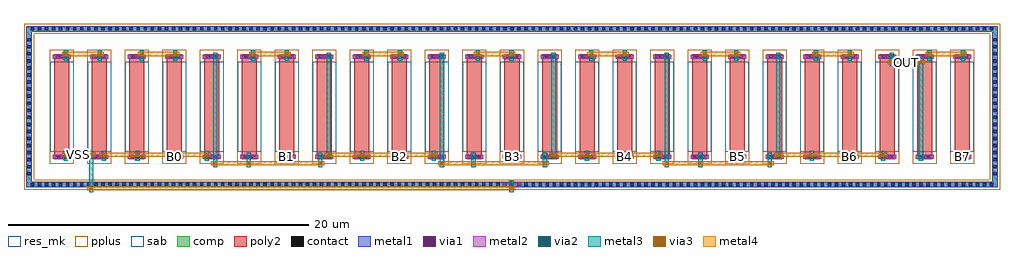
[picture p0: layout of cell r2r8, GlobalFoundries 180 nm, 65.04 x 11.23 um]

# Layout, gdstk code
import gdstk
lib = gdstk.Library(unit=1e-6, precision=1e-09)
def R(c, l, rs):  # rectangles x0, y0, x1, y1
    for r in rs: c.add(gdstk.rectangle(r[:2], r[2:], *l))
def A(c, l, x, y, w, h, nx, ny, dx, dy):  # array of equal rectangles
    R(c, l, [(x+i*dx, y+j*dy, x+i*dx+w, y+j*dy+h) for i in range(nx) for j in range(ny)])
comp = (22, 0)
poly2 = (30, 0)
pplus = (31, 0)
contact = (33, 0)
metal1 = (34, 0)
via1 = (35, 0)
metal2 = (36, 0)
via2 = (38, 0)
via3 = (40, 0)
metal3 = (42, 0)
metal4 = (46, 0)
sab = (49, 0)
res_mk = (110, 5)

r2r8 = lib.new_cell('r2r8')
R(r2r8, comp, [(1.14,0.63,65.86,0.99), (1.14,0.99,1.5,11.01), (65.5,0.99,65.86,11.01), (1.14,11.01,65.86,11.37)])
A(r2r8, poly2, 3, 2.49, 1, 7.02, 25, 1, 2.5, 0)
A(r2r8, pplus, 2.7, 2.19, 1.6, 7.62, 25, 1, 2.5, 0)
R(r2r8, pplus, [(0.98,0.47,66.02,1.15), (0.98,0.83,1.66,11.17), (65.34,0.83,66.02,11.17), (0.98,10.85,66.02,11.53)])
A(r2r8, contact, 1.43, 0.7, 0.22, 0.22, 137, 2, 0.47, 10.38)
A(r2r8, contact, 1.21, 1.425, 0.22, 0.22, 1, 20, 0, 0.47)
A(r2r8, contact, 65.57, 1.425, 0.22, 0.22, 1, 20, 0, 0.47)
R(r2r8, contact, [(3.155,2.56,3.375,2.78), (3.625,2.56,3.845,2.78), (5.655,2.56,5.875,2.78), (6.125,2.56,6.345,2.78), (8.155,2.56,8.375,2.78), (8.625,2.56,8.845,2.78), (10.655,2.56,10.875,2.78), (11.125,2.56,11.345,2.78), (13.155,2.56,13.375,2.78), (13.625,2.56,13.845,2.78), (15.655,2.56,15.875,2.78), (16.125,2.56,16.345,2.78), (18.155,2.56,18.375,2.78), (18.625,2.56,18.845,2.78), (20.655,2.56,20.875,2.78), (21.125,2.56,21.345,2.78), (23.155,2.56,23.375,2.78), (23.625,2.56,23.845,2.78), (25.655,2.56,25.875,2.78), (26.125,2.56,26.345,2.78), (28.155,2.56,28.375,2.78), (28.625,2.56,28.845,2.78), (30.655,2.56,30.875,2.78), (31.125,2.56,31.345,2.78), (33.155,2.56,33.375,2.78), (33.625,2.56,33.845,2.78), (35.655,2.56,35.875,2.78), (36.125,2.56,36.345,2.78), (38.155,2.56,38.375,2.78), (38.625,2.56,38.845,2.78), (40.655,2.56,40.875,2.78), (41.125,2.56,41.345,2.78), (43.155,2.56,43.375,2.78), (43.625,2.56,43.845,2.78), (45.655,2.56,45.875,2.78), (46.125,2.56,46.345,2.78), (48.155,2.56,48.375,2.78), (48.625,2.56,48.845,2.78), (50.655,2.56,50.875,2.78), (51.125,2.56,51.345,2.78), (53.155,2.56,53.375,2.78), (53.625,2.56,53.845,2.78), (55.655,2.56,55.875,2.78), (56.125,2.56,56.345,2.78), (58.155,2.56,58.375,2.78), (58.625,2.56,58.845,2.78), (60.655,2.56,60.875,2.78), (61.125,2.56,61.345,2.78), (63.155,2.56,63.375,2.78), (63.625,2.56,63.845,2.78), (3.155,9.22,3.375,9.44), (3.625,9.22,3.845,9.44), (5.655,9.22,5.875,9.44), (6.125,9.22,6.345,9.44), (8.155,9.22,8.375,9.44), (8.625,9.22,8.845,9.44), (10.655,9.22,10.875,9.44), (11.125,9.22,11.345,9.44), (13.155,9.22,13.375,9.44), (13.625,9.22,13.845,9.44), (15.655,9.22,15.875,9.44), (16.125,9.22,16.345,9.44), (18.155,9.22,18.375,9.44), (18.625,9.22,18.845,9.44), (20.655,9.22,20.875,9.44), (21.125,9.22,21.345,9.44), (23.155,9.22,23.375,9.44), (23.625,9.22,23.845,9.44), (25.655,9.22,25.875,9.44), (26.125,9.22,26.345,9.44), (28.155,9.22,28.375,9.44), (28.625,9.22,28.845,9.44), (30.655,9.22,30.875,9.44), (31.125,9.22,31.345,9.44), (33.155,9.22,33.375,9.44), (33.625,9.22,33.845,9.44), (35.655,9.22,35.875,9.44), (36.125,9.22,36.345,9.44), (38.155,9.22,38.375,9.44), (38.625,9.22,38.845,9.44), (40.655,9.22,40.875,9.44), (41.125,9.22,41.345,9.44), (43.155,9.22,43.375,9.44), (43.625,9.22,43.845,9.44), (45.655,9.22,45.875,9.44), (46.125,9.22,46.345,9.44), (48.155,9.22,48.375,9.44), (48.625,9.22,48.845,9.44), (50.655,9.22,50.875,9.44), (51.125,9.22,51.345,9.44), (53.155,9.22,53.375,9.44), (53.625,9.22,53.845,9.44), (55.655,9.22,55.875,9.44), (56.125,9.22,56.345,9.44), (58.155,9.22,58.375,9.44), (58.625,9.22,58.845,9.44), (60.655,9.22,60.875,9.44), (61.125,9.22,61.345,9.44), (63.155,9.22,63.375,9.44), (63.625,9.22,63.845,9.44)])
A(r2r8, metal1, 3.22, 2.54, 0.56, 0.26, 25, 2, 2.5, 6.66)
A(r2r8, metal1, 3.095, 2.555, 0.81, 0.23, 25, 2, 2.5, 6.66)
R(r2r8, metal1, [(1.14,0.63,65.86,0.99), (33.22,0.68,33.78,0.94), (1.14,0.99,1.5,11.01), (65.5,0.99,65.86,11.01), (1.14,11.01,65.86,11.37)])
A(r2r8, via1, 3.37, 2.54, 0.26, 0.26, 25, 2, 2.5, 6.66)
R(r2r8, via1, [(33.37,0.68,33.63,0.94)])
A(r2r8, metal2, 2.9, 2.53, 1.2, 0.28, 4, 1, 2.5, 0)
A(r2r8, metal2, 10.4, 2.53, 1.2, 0.28, 4, 1, 2.5, 0)
A(r2r8, metal2, 17.9, 2.53, 1.2, 0.28, 4, 1, 2.5, 0)
A(r2r8, metal2, 25.4, 2.53, 1.2, 0.28, 4, 1, 2.5, 0)
A(r2r8, metal2, 32.9, 2.53, 1.2, 0.28, 4, 1, 2.5, 0)
A(r2r8, metal2, 40.4, 2.53, 1.2, 0.28, 4, 1, 2.5, 0)
A(r2r8, metal2, 47.9, 2.53, 1.2, 0.28, 4, 1, 2.5, 0)
A(r2r8, metal2, 55.4, 2.53, 1.2, 0.28, 4, 1, 2.5, 0)
A(r2r8, metal2, 2.9, 9.19, 1.2, 0.28, 25, 1, 2.5, 0)
R(r2r8, metal2, [(32.9,0.67,34.1,0.95), (33.2,0.67,33.72,0.95), (33.24,0.67,33.76,0.95), (3.24,2.53,3.76,2.81), (3.52,2.53,4.04,2.81), (5.74,2.53,6.26,2.81), (6.04,2.53,6.56,2.81), (8.24,2.53,8.76,2.81), (8.28,2.53,8.8,2.81), (10.74,2.53,11.26,2.81), (12.9,2.53,13.42,2.81), (13.24,2.53,13.76,2.81), (15.7,2.53,16.22,2.81), (15.74,2.53,16.26,2.81), (18.24,2.53,18.76,2.81), (20.46,2.53,20.98,2.81), (20.74,2.53,21.26,2.81), (23.24,2.53,23.76,2.81), (23.26,2.53,23.78,2.81), (25.74,2.53,26.26,2.81), (28.02,2.53,28.54,2.81), (28.24,2.53,28.76,2.81), (30.68,2.53,31.2,2.81), (30.74,2.53,31.26,2.81), (33.24,2.53,33.76,2.81), (35.44,2.53,35.96,2.81), (35.74,2.53,36.26,2.81), (38.24,2.53,38.76,2.81), (38.24,2.53,38.76,2.81), (40.74,2.53,41.26,2.81), (43,2.53,43.52,2.81), (43.24,2.53,43.76,2.81), (45.74,2.53,46.26,2.81), (45.8,2.53,46.32,2.81), (48.24,2.53,48.76,2.81), (50.42,2.53,50.94,2.81), (50.74,2.53,51.26,2.81), (53.22,2.53,53.74,2.81), (53.24,2.53,53.76,2.81), (55.74,2.53,56.26,2.81), (57.98,2.53,58.5,2.81), (58.24,2.53,58.76,2.81), (60.5,2.53,61.02,2.81), (60.74,2.53,61.26,2.81), (62.9,2.53,64.1,2.81), (63.24,2.53,63.76,2.81), (3.24,9.19,3.76,9.47), (3.52,9.19,4.04,9.47), (5.74,9.19,6.26,9.47), (5.76,9.19,6.28,9.47), (8.24,9.19,8.76,9.47), (8.56,9.19,9.08,9.47), (10.74,9.19,11.26,9.47), (10.8,9.19,11.32,9.47), (13.24,9.19,13.76,9.47), (13.46,9.19,13.98,9.47), (15.74,9.19,16.26,9.47), (15.98,9.19,16.5,9.47), (18.22,9.19,18.74,9.47), (18.24,9.19,18.76,9.47), (20.74,9.19,21.26,9.47), (21.02,9.19,21.54,9.47), (23.24,9.19,23.76,9.47), (23.54,9.19,24.06,9.47), (25.74,9.19,26.26,9.47), (25.78,9.19,26.3,9.47), (28.24,9.19,28.76,9.47), (28.58,9.19,29.1,9.47), (30.74,9.19,31.26,9.47), (30.96,9.19,31.48,9.47), (33.2,9.19,33.72,9.47), (33.24,9.19,33.76,9.47), (35.74,9.19,36.26,9.47), (36,9.19,36.52,9.47), (38.24,9.19,38.76,9.47), (38.52,9.19,39.04,9.47), (40.74,9.19,41.26,9.47), (40.76,9.19,41.28,9.47), (43.24,9.19,43.76,9.47), (43.56,9.19,44.08,9.47), (45.74,9.19,46.26,9.47), (46.08,9.19,46.6,9.47), (48.18,9.19,48.7,9.47), (48.24,9.19,48.76,9.47), (50.74,9.19,51.26,9.47), (50.98,9.19,51.5,9.47), (53.24,9.19,53.76,9.47), (53.5,9.19,54.02,9.47), (55.74,9.19,56.26,9.47), (55.74,9.19,56.26,9.47), (58.24,9.19,58.76,9.47), (58.54,9.19,59.06,9.47), (60.74,9.19,61.26,9.47), (61.06,9.19,61.58,9.47), (63.24,9.19,63.76,9.47), (63.3,9.19,63.82,9.47)])
R(r2r8, via2, [(33.33,0.68,33.59,0.94), (3.65,2.54,3.91,2.8), (6.17,2.54,6.43,2.8), (8.41,2.54,8.67,2.8), (13.03,2.54,13.29,2.8), (15.83,2.54,16.09,2.8), (20.59,2.54,20.85,2.8), (23.39,2.54,23.65,2.8), (28.15,2.54,28.41,2.8), (30.81,2.54,31.07,2.8), (35.57,2.54,35.83,2.8), (38.37,2.54,38.63,2.8), (43.13,2.54,43.39,2.8), (45.93,2.54,46.19,2.8), (50.55,2.54,50.81,2.8), (53.35,2.54,53.61,2.8), (58.11,2.54,58.37,2.8), (60.63,2.54,60.89,2.8), (3.65,9.2,3.91,9.46), (5.89,9.2,6.15,9.46), (8.69,9.2,8.95,9.46), (10.93,9.2,11.19,9.46), (13.59,9.2,13.85,9.46), (16.11,9.2,16.37,9.46), (18.35,9.2,18.61,9.46), (21.15,9.2,21.41,9.46), (23.67,9.2,23.93,9.46), (25.91,9.2,26.17,9.46), (28.71,9.2,28.97,9.46), (31.09,9.2,31.35,9.46), (33.33,9.2,33.59,9.46), (36.13,9.2,36.39,9.46), (38.65,9.2,38.91,9.46), (40.89,9.2,41.15,9.46), (43.69,9.2,43.95,9.46), (46.21,9.2,46.47,9.46), (48.31,9.2,48.57,9.46), (51.11,9.2,51.37,9.46), (53.63,9.2,53.89,9.46), (55.87,9.2,56.13,9.46), (58.67,9.2,58.93,9.46), (61.19,9.2,61.45,9.46), (63.43,9.2,63.69,9.46)])
R(r2r8, via3, [(5.33,0.43,5.59,0.69), (33.33,0.43,33.59,0.69), (13.59,2.11,13.85,2.37), (15.83,2.11,16.09,2.37), (20.59,2.11,20.85,2.37), (28.71,2.11,28.97,2.37), (30.81,2.11,31.07,2.37), (35.57,2.11,35.83,2.37), (43.69,2.11,43.95,2.37), (45.93,2.11,46.19,2.37), (50.55,2.11,50.81,2.37), (3.65,2.67,3.91,2.93), (5.33,2.67,5.59,2.93), (6.17,2.67,6.43,2.93), (8.41,2.67,8.67,2.93), (13.03,2.67,13.29,2.93), (21.15,2.67,21.41,2.93), (23.39,2.67,23.65,2.93), (28.15,2.67,28.41,2.93), (36.13,2.67,36.39,2.93), (38.37,2.67,38.63,2.93), (43.13,2.67,43.39,2.93), (51.11,2.67,51.37,2.93), (53.35,2.67,53.61,2.93), (58.11,2.67,58.37,2.93), (58.67,8.83,58.93,9.09), (60.63,8.83,60.89,9.09), (3.65,9.39,3.91,9.65), (5.89,9.39,6.15,9.65), (8.69,9.39,8.95,9.65), (10.93,9.39,11.19,9.65), (16.11,9.39,16.37,9.65), (18.35,9.39,18.61,9.65), (23.67,9.39,23.93,9.65), (25.91,9.39,26.17,9.65), (31.09,9.39,31.35,9.65), (33.33,9.39,33.59,9.65), (38.65,9.39,38.91,9.65), (40.89,9.39,41.15,9.65), (46.21,9.39,46.47,9.65), (48.31,9.39,48.57,9.65), (53.63,9.39,53.89,9.65), (55.87,9.39,56.13,9.65), (61.19,9.39,61.45,9.65), (63.43,9.39,63.69,9.65)])
A(r2r8, metal3, 21.14, 2.8, 0.28, 6.53, 3, 1, 14.98, 0)
R(r2r8, metal3, [(5.32,0.3,5.6,0.82), (33.32,0.3,33.6,0.82), (33.32,0.55,33.6,1.07), (5.32,0.56,5.6,2.8), (33.32,0.56,33.6,0.81), (13.58,1.98,13.86,2.5), (15.82,1.98,16.1,2.5), (20.58,1.98,20.86,2.5), (28.7,1.98,28.98,2.5), (30.8,1.98,31.08,2.5), (35.56,1.98,35.84,2.5), (43.68,1.98,43.96,2.5), (45.92,1.98,46.2,2.5), (50.54,1.98,50.82,2.5), (13.58,2.24,13.86,9.33), (15.82,2.24,16.1,2.67), (20.58,2.24,20.86,2.67), (28.7,2.24,28.98,9.33), (30.8,2.24,31.08,2.67), (35.56,2.24,35.84,2.67), (43.68,2.24,43.96,9.33), (45.92,2.24,46.2,2.67), (50.54,2.24,50.82,2.67), (3.64,2.41,3.92,2.93), (6.16,2.41,6.44,2.93), (8.4,2.41,8.68,2.93), (13.02,2.41,13.3,2.93), (15.82,2.41,16.1,2.93), (20.58,2.41,20.86,2.93), (23.38,2.41,23.66,2.93), (28.14,2.41,28.42,2.93), (30.8,2.41,31.08,2.93), (35.56,2.41,35.84,2.93), (38.36,2.41,38.64,2.93), (43.12,2.41,43.4,2.93), (45.92,2.41,46.2,2.93), (50.54,2.41,50.82,2.93), (53.34,2.41,53.62,2.93), (58.1,2.41,58.38,2.93), (60.62,2.41,60.9,2.93), (3.64,2.54,3.92,3.06), (5.32,2.54,5.6,3.06), (6.16,2.54,6.44,3.06), (8.4,2.54,8.68,3.06), (13.02,2.54,13.3,3.06), (21.14,2.54,21.42,3.06), (23.38,2.54,23.66,3.06), (28.14,2.54,28.42,3.06), (36.12,2.54,36.4,3.06), (38.36,2.54,38.64,3.06), (43.12,2.54,43.4,3.06), (51.1,2.54,51.38,3.06), (53.34,2.54,53.62,3.06), (58.1,2.54,58.38,3.06), (3.64,2.67,3.92,2.8), (6.16,2.67,6.44,2.8), (8.4,2.67,8.68,2.8), (13.02,2.67,13.3,2.8), (23.38,2.67,23.66,2.8), (28.14,2.67,28.42,2.8), (38.36,2.67,38.64,2.8), (43.12,2.67,43.4,2.8), (53.34,2.67,53.62,2.8), (58.1,2.67,58.38,2.8), (60.62,2.67,60.9,8.96), (58.66,8.7,58.94,9.22), (60.62,8.7,60.9,9.22), (58.66,8.96,58.94,9.33), (3.64,9.07,3.92,9.59), (5.88,9.07,6.16,9.59), (8.68,9.07,8.96,9.59), (10.92,9.07,11.2,9.59), (13.58,9.07,13.86,9.59), (16.1,9.07,16.38,9.59), (18.34,9.07,18.62,9.59), (21.14,9.07,21.42,9.59), (23.66,9.07,23.94,9.59), (25.9,9.07,26.18,9.59), (28.7,9.07,28.98,9.59), (31.08,9.07,31.36,9.59), (33.32,9.07,33.6,9.59), (36.12,9.07,36.4,9.59), (38.64,9.07,38.92,9.59), (40.88,9.07,41.16,9.59), (43.68,9.07,43.96,9.59), (46.2,9.07,46.48,9.59), (48.3,9.07,48.58,9.59), (51.1,9.07,51.38,9.59), (53.62,9.07,53.9,9.59), (55.86,9.07,56.14,9.59), (58.66,9.07,58.94,9.59), (61.18,9.07,61.46,9.59), (63.42,9.07,63.7,9.59), (3.64,9.26,3.92,9.78), (5.88,9.26,6.16,9.78), (8.68,9.26,8.96,9.78), (10.92,9.26,11.2,9.78), (16.1,9.26,16.38,9.78), (18.34,9.26,18.62,9.78), (23.66,9.26,23.94,9.78), (25.9,9.26,26.18,9.78), (31.08,9.26,31.36,9.78), (33.32,9.26,33.6,9.78), (38.64,9.26,38.92,9.78), (40.88,9.26,41.16,9.78), (46.2,9.26,46.48,9.78), (48.3,9.26,48.58,9.78), (53.62,9.26,53.9,9.78), (55.86,9.26,56.14,9.78), (61.18,9.26,61.46,9.78), (63.42,9.26,63.7,9.78), (3.64,9.33,3.92,9.52), (5.88,9.33,6.16,9.52), (8.68,9.33,8.96,9.52), (10.92,9.33,11.2,9.52), (16.1,9.33,16.38,9.52), (18.34,9.33,18.62,9.52), (23.66,9.33,23.94,9.52), (25.9,9.33,26.18,9.52), (31.08,9.33,31.36,9.52), (33.32,9.33,33.6,9.52), (38.64,9.33,38.92,9.52), (40.88,9.33,41.16,9.52), (46.2,9.33,46.48,9.52), (48.3,9.33,48.58,9.52), (53.62,9.33,53.9,9.52), (55.86,9.33,56.14,9.52), (61.18,9.33,61.46,9.52), (63.42,9.33,63.7,9.52)])
A(r2r8, metal4, 21.28, 2.66, 7, 0.28, 3, 1, 14.98, 0)
R(r2r8, metal4, [(5.2,0.42,5.72,0.7), (5.46,0.42,33.46,0.7), (33.2,0.42,33.72,0.7), (13.46,2.1,13.98,2.38), (13.72,2.1,20.72,2.38), (15.7,2.1,16.22,2.38), (20.46,2.1,20.98,2.38), (28.58,2.1,29.1,2.38), (28.84,2.1,35.7,2.38), (30.68,2.1,31.2,2.38), (35.44,2.1,35.96,2.38), (43.56,2.1,44.08,2.38), (43.82,2.1,50.68,2.38), (45.8,2.1,46.32,2.38), (50.42,2.1,50.94,2.38), (3.52,2.66,4.04,2.94), (3.78,2.66,5.46,2.94), (5.2,2.66,5.72,2.94), (6.04,2.66,6.56,2.94), (6.3,2.66,13.16,2.94), (8.28,2.66,8.8,2.94), (12.9,2.66,13.42,2.94), (21.02,2.66,21.54,2.94), (23.26,2.66,23.78,2.94), (28.02,2.66,28.54,2.94), (36,2.66,36.52,2.94), (38.24,2.66,38.76,2.94), (43,2.66,43.52,2.94), (50.98,2.66,51.5,2.94), (53.22,2.66,53.74,2.94), (57.98,2.66,58.5,2.94), (58.54,8.82,59.06,9.1), (58.8,8.82,60.76,9.1), (60.5,8.82,61.02,9.1), (3.52,9.38,4.04,9.66), (3.78,9.38,6.02,9.66), (5.76,9.38,6.28,9.66), (8.56,9.38,9.08,9.66), (8.82,9.38,11.06,9.66), (10.8,9.38,11.32,9.66), (15.98,9.38,16.5,9.66), (16.24,9.38,18.48,9.66), (18.22,9.38,18.74,9.66), (23.54,9.38,24.06,9.66), (23.8,9.38,26.04,9.66), (25.78,9.38,26.3,9.66), (30.96,9.38,31.48,9.66), (31.22,9.38,33.46,9.66), (33.2,9.38,33.72,9.66), (38.52,9.38,39.04,9.66), (38.78,9.38,41.02,9.66), (40.76,9.38,41.28,9.66), (46.08,9.38,46.6,9.66), (46.34,9.38,48.44,9.66), (48.18,9.38,48.7,9.66), (53.5,9.38,54.02,9.66), (53.76,9.38,56,9.66), (55.74,9.38,56.26,9.66), (61.06,9.38,61.58,9.66), (61.32,9.38,63.56,9.66), (63.3,9.38,63.82,9.66)])
A(r2r8, sab, 2.72, 3, 1.56, 6, 25, 1, 2.5, 0)
A(r2r8, res_mk, 3, 3, 1, 6, 25, 1, 2.5, 0)
r2r8.add(gdstk.Label('B0', (11,2.67), layer=36, texttype=10))
r2r8.add(gdstk.Label('B1', (18.5,2.67), layer=36, texttype=10))
r2r8.add(gdstk.Label('B2', (26,2.67), layer=36, texttype=10))
r2r8.add(gdstk.Label('B3', (33.5,2.67), layer=36, texttype=10))
r2r8.add(gdstk.Label('B4', (41,2.67), layer=36, texttype=10))
r2r8.add(gdstk.Label('B5', (48.5,2.67), layer=36, texttype=10))
r2r8.add(gdstk.Label('B6', (56,2.67), layer=36, texttype=10))
r2r8.add(gdstk.Label('B7', (63.5,2.67), layer=36, texttype=10))
r2r8.add(gdstk.Label('OUT', (59.78,8.96), layer=46, texttype=10))
r2r8.add(gdstk.Label('VSS', (4.62,2.8), layer=46, texttype=10))

lib.write_gds('r2r8.gds')
